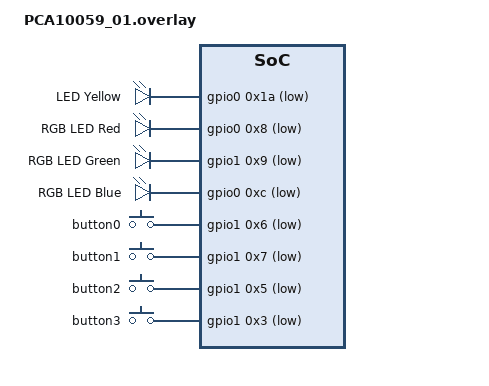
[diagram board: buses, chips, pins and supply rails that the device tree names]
/ {
	leds {
		led0: led_0 {
			gpios = < &gpio0 0x1a 0x1 >;
			label = "LED Yellow";
		};
		led1: led_1 {
			gpios = < &gpio0 0x8 0x1 >;
			label = "RGB LED Red";
		};
		led2: led_2 {
			gpios = < &gpio1 0x9 0x1 >;
			label = "RGB LED Green";
		};
		led3: led_3 {
			gpios = < &gpio0 0xc 0x1 >;
			label = "RGB LED Blue";
		};
	};
	buttons {
		button0: button_0 {
			gpios = < &gpio1 0x6 0x11 >;
		};
		button1: button_1 {
			gpios = < &gpio1 0x7 0x11 >;
		};
		button2: button_2 {
			gpios = < &gpio1 0x5 0x11 >;
		};
		button3: button_3 {
			gpios = < &gpio1 0x3 0x11 >;
		};
	};
};
